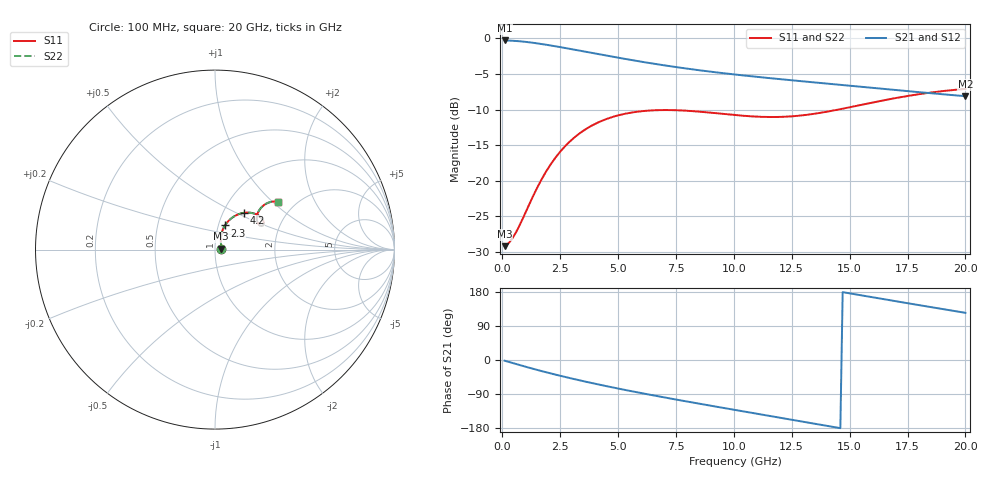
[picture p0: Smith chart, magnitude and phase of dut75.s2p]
! Created with skrf 1.9.0 (http://scikit-rf.org).
# GHz S RI R 50.0
!freq ReS11 ImS11 ReS21 ImS21 ReS12 ImS12 ReS22 ImS22
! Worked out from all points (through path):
!   200 points, 100 MHz to 20 GHz, reference 50 ohm
!   highest |S21| = -0.31 dB at 100 MHz (marker M1); lowest = -8.1 dB at 20 GHz (marker M2)
!   group delay of S21, straight-line fit = 31.3 ps
!   lowest |S11| = -29.2 dB at 100 MHz (marker M3), VSWR 1.07, Z = 53.6 + j0.558 ohm
!   |S11| at or under -10 dB: start of sweep to 14.52 GHz
!   |S22| runs from -29.2 to -7.1 dB; largest |S21 - S12| = 1.9e-15
!   S11 on the Smith chart (normalised r, x): 100 MHz: 1.07, +0.01; 2.3 GHz: 1.08, +0.30; 4.2 GHz: 1.25, +0.55; 20 GHz: 1.64, +1.08
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0.1  0.0344 0.00521  0.9648 -0.031  0.9648 -0.031  0.0344 0.00521
0.3  0.0343 0.014  0.959 -0.0908  0.959 -0.0908  0.0343 0.014
0.5  0.0337 0.0234  0.9478 -0.1496  0.9478 -0.1496  0.0337 0.0234
1  0.0324 0.0503  0.8993 -0.2867  0.8993 -0.2867  0.0324 0.0503
1.7  0.0381 0.0953  0.7949 -0.4456  0.7949 -0.4456  0.0381 0.0953
2.3  0.0554 0.1348  0.6864 -0.5482  0.6864 -0.5482  0.0554 0.1348
2.9  0.0835 0.1681  0.5708 -0.6219  0.5708 -0.6219  0.0835 0.1681
3.5  0.1178 0.1913  0.4546 -0.6705  0.4546 -0.6705  0.1178 0.1913
4.2  0.1596 0.2046  0.3238 -0.7006  0.3238 -0.7006  0.1596 0.2046
4.8  0.1925 0.2058  0.2186 -0.7078  0.2186 -0.7078  0.1925 0.2058
5.4  0.2204 0.2001  0.1212 -0.7015  0.1212 -0.7015  0.2204 0.2001
6.8  0.2614 0.173  -0.074 -0.6489  -0.074 -0.6489  0.2614 0.173
7.6  0.2705 0.1563  -0.1661 -0.6022  -0.1661 -0.6022  0.2705 0.1563
8.4  0.2715 0.1428  -0.2453 -0.5472  -0.2453 -0.5472  0.2715 0.1428
9.2  0.2667 0.1342  -0.3124 -0.4859  -0.3124 -0.4859  0.2667 0.1342
10.1  0.2572 0.1316  -0.3742 -0.4109  -0.3742 -0.4109  0.2572 0.1316
11.7  0.2396 0.1454  -0.4489 -0.267  -0.4489 -0.267  0.2396 0.1454
13.4  0.2329 0.1796  -0.4793 -0.1086  -0.4793 -0.1086  0.2329 0.1796
15  0.2454 0.2177  -0.4635 0.0332  -0.4635 0.0332  0.2454 0.2177
16.7  0.2766 0.2506  -0.4064 0.1629  -0.4064 0.1629  0.2766 0.2506
18.4  0.3166 0.2669  -0.3197 0.2617  -0.3197 0.2617  0.3166 0.2669
20  0.3514 0.2665  -0.2223 0.3236  -0.2223 0.3236  0.3514 0.2665
